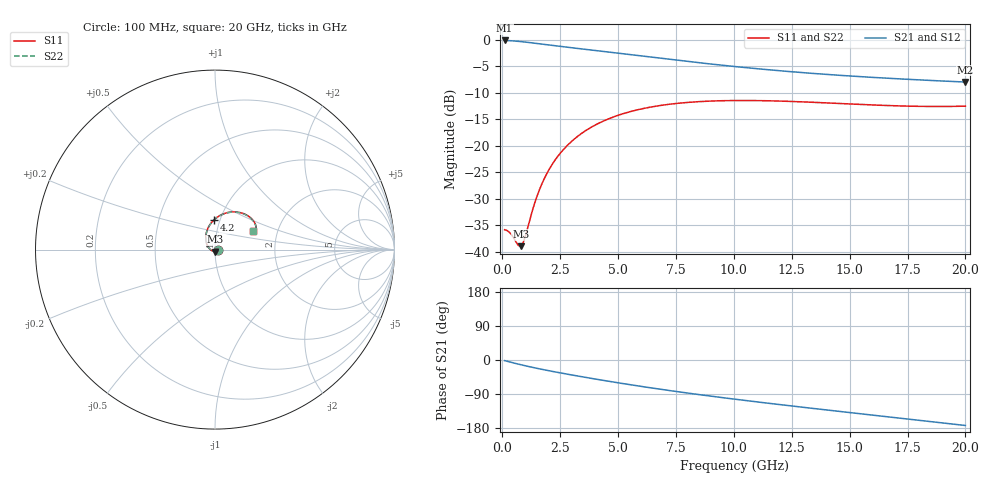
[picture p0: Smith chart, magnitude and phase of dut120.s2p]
! Touchstone file exported from HFSS 2023.1.0
!  File:  D:/Users/fzz/RDL_TSV/temp_RDL_TSV_120_1778750477.aedt
!  Generated:  5:29:26 %x4E0B%x5348  5%x6708 14, 2026
!  Design:  RDL_TSV
!  Project:  temp_RDL_TSV_120_1778750477
!  Setup:  Setup1
!  Solution:  Sweep
! Variables:
!  dtsv = 15.25um
!  hbump = 3um
!  htsv = 56.81um
!  ldown = 666.77um
!  lrdl = 111.93um
!  p = 40
!  p1 = 47.72um
!  rhole = 10um
!  subl = 2448.03um
!  t = 450um
!  tdown = 2.34um
!  trdl = 3.58um
!  viad = 10um
!  wdown = 21.45um
!  wrdl = 22.01um
!  xbump = 18um
# GHz S MA R 50.000000
! Terminal data exported
! Port[1] = TM1_1_T1
! Port[2] = TM1_4_T1
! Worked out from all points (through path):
!   200 points, 100 MHz to 20 GHz, reference 50 ohm
!   highest |S21| = -0.15 dB at 100 MHz (marker M1); lowest = -8.0 dB at 20 GHz (marker M2)
!   group delay of S21, straight-line fit = 22.7 ps
!   lowest |S11| = -38.9 dB at 800 MHz (marker M3), VSWR 1.02, Z = 49.8 - j1.12 ohm
!   |S11| at or under -10 dB: start of sweep to end of sweep
!   |S22| runs from -38.9 to -11.5 dB; largest |S21 - S12| = 8.2e-15
!   S11 on the Smith chart (normalised r, x): 100 MHz: 1.03, -0.00; 4.2 GHz: 0.93, +0.32; 20 GHz: 1.49, +0.33
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0.1  0.01621 -6.6  0.9831 -1.6  0.9831 -1.6  0.01621 -6.6
! Gamma 0 0 0 0
! Port Impedance 50 0 50 0
0.3  0.0154 -22.5  0.9791 -4.9  0.9791 -4.9  0.01541 -22.5
0.7  0.01151 -77.7  0.964 -11.0  0.964 -11.0  0.01154 -77.6
0.8  0.01134 -98.9  0.9593 -12.5  0.9593 -12.5  0.01137 -98.7
0.9  0.0122 -120.7  0.9543 -13.9  0.9543 -13.9  0.01222 -120.4
1  0.01416 -140.0  0.949 -15.3  0.949 -15.3  0.01414 -139.7
1.3  0.02456 -177.7  0.9323 -19.4  0.9323 -19.4  0.02447 -177.5
1.5  0.03354 167.4  0.9208 -22.0  0.9208 -22.0  0.03341 167.6
1.7  0.04332 156.3  0.9093 -24.5  0.9093 -24.5  0.04315 156.5
2  0.05874 143.5  0.8922 -28.2  0.8922 -28.2  0.05851 143.5
2.3  0.0745 133.2  0.8757 -31.7  0.8757 -31.7  0.0742 133.3
2.7  0.09531 122.0  0.8546 -36.2  0.8546 -36.2  0.09494 122.0
3.5  0.1344 104.5  0.8149 -44.9  0.8149 -44.9  0.1339 104.5
4.2  0.1646 92.4  0.782 -52.1  0.782 -52.1  0.1639 92.4
5.4  0.2063 76.0  0.7281 -64.0  0.7281 -64.0  0.2055 76.0
6.8  0.2394 61.2  0.6694 -76.9  0.6694 -76.9  0.2384 61.2
8.4  0.26 48.4  0.6098 -90.5  0.6098 -90.5  0.259 48.3
10.1  0.2673 38.3  0.5567 -103.9  0.5567 -103.9  0.2661 38.2
11.7  0.265 31.4  0.516 -115.7  0.516 -115.7  0.2639 31.3
13.4  0.2572 26.5  0.4813 -127.7  0.4813 -127.7  0.2562 26.5
16.7  0.2394 23.5  0.4325 -150.3  0.4325 -150.3  0.2387 23.4
20  0.2364 26.6  0.3989 -172.8  0.3989 -172.8  0.2359 26.4
